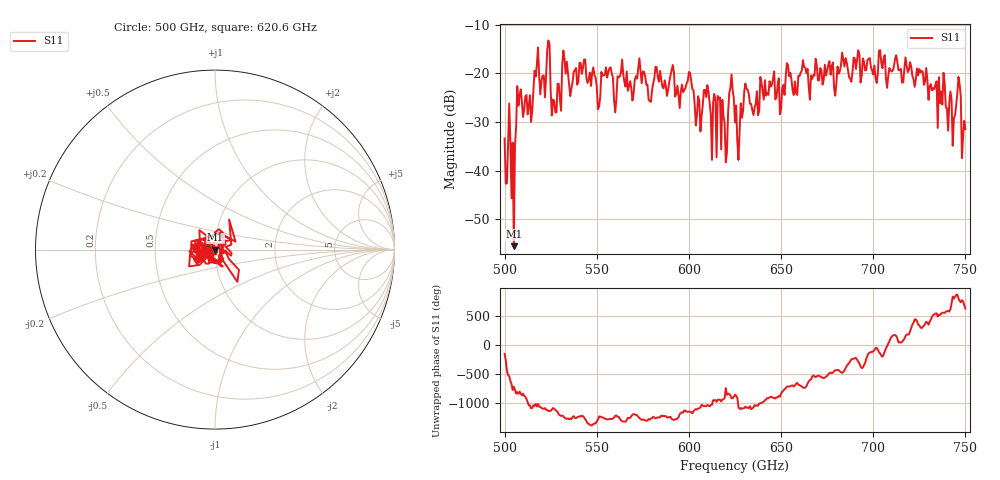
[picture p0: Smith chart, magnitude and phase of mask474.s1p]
!Created with skrf (http://scikit-rf.org).
# GHz S MA R 50.0
!freq magS11 angS11
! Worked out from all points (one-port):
!   401 points, 500 GHz to 750 GHz, reference 50 ohm
!   lowest |S11| = -55.6 dB at 505 GHz (marker M1), VSWR 1.00, Z = 50.2 + j0.000302 ohm
!   |S11| at or under -10 dB: start of sweep to end of sweep
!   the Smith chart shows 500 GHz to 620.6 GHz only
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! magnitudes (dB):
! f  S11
! 500 GHz  -33.4
! 505 GHz  -55.6
! 508.1 GHz  -24.6
! 513.8 GHz  -24.5
! 516.9 GHz  -20.6
! 523.8 GHz  -13.2
! 526.9 GHz  -25.6
! 531.2 GHz  -18.3
! 542.5 GHz  -18.9
! 550.6 GHz  -27.4
! 562.5 GHz  -20.7
! 578.8 GHz  -25.7
! 590.6 GHz  -19.3
! 593.8 GHz  -22.5
! 600 GHz  -19.7
! 605 GHz  -24.7
! 609.4 GHz  -24.9
! 620 GHz  -38.3
! 623.1 GHz  -20.2
! 625 GHz  -30.1
! 626.2 GHz  -34.0
! 631.2 GHz  -23.2
! 656.2 GHz  -23.5
! 687.5 GHz  -21.1
! 718.8 GHz  -19.7
! 743.8 GHz  -29.3
! 746.2 GHz  -20.7
! 750 GHz  -31.5
